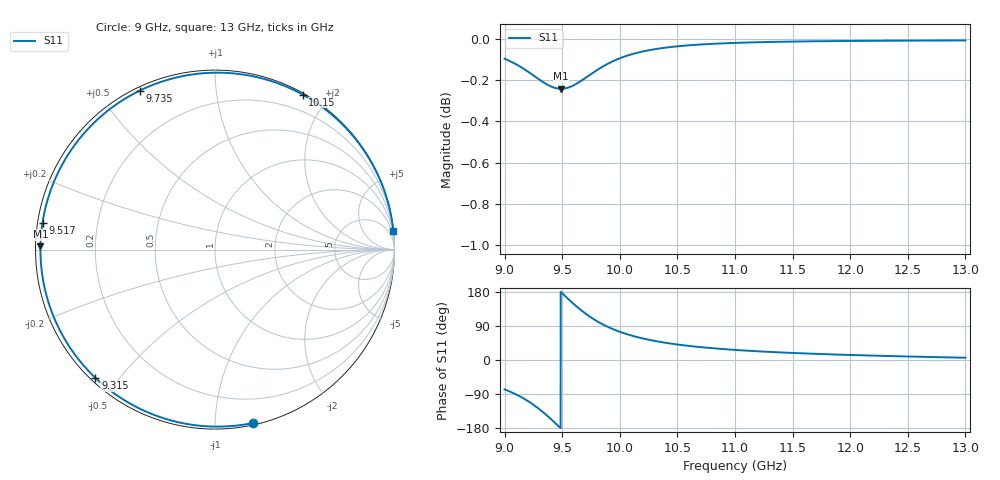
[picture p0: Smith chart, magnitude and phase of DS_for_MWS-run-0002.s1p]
! TOUCHSTONE file generated by CST DESIGN STUDIO
! Date and time: Tue Feb  4 12:20:45 2025
! Project name: C:\Work\MatlabApps\UnitCellOptimizationMatlab\CST\unitcell.cst
! Tree item: Tasks\Sweep1\SPara1\S-Parameters
! Header version: 2024
! Port assignment regex: !\s*Touchstone port\s*([0-9]+)\s*=\s*(CST MWS port|CST DES external port|CST DES block port)\s*(.+)\s* \(\"(.*)\"\)(\s*mode\s*([0-9]+))?.*
! Touchstone port assignment:
! Touchstone port 1 = CST DES external port 1 ("")
# GHz S MA R 50
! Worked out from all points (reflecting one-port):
!   4001 points, 9 GHz to 13 GHz, reference 50 ohm
!   lowest |S11| = -0.2 dB at 9.49 GHz (marker M1), VSWR 72.03, Z = 0.694 + j0.462 ohm
!   phase of S11 starts at -78 deg and turns -276 deg over the sweep
!   S11 on the Smith chart (normalised r, x): 9 GHz: 0.01, -1.24; 9.315 GHz: 0.01, -0.43; 9.517 GHz: 0.01, +0.08; 9.735 GHz: 0.01, +0.63; 10.15 GHz: 0.02, +1.72; 13 GHz: 0, +19
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9  0.9891 -77.6
9.08  0.9867 -88.0
9.18  0.9829 -104.2
9.25  0.9799 -118.1
9.315  0.977 -133.0
9.361  0.9752 -144.7
9.41  0.9737 -158.1
9.451  0.9729 -169.8
9.49  0.9726 178.9
9.5  0.9726 176.0
9.517  0.9727 171.1
9.57  0.9737 156.0
9.63  0.9756 139.9
9.682  0.9777 127.2
9.735  0.98 115.4
9.789  0.9823 104.8
9.848  0.9846 94.6
9.923  0.9872 83.7
10  0.9893 74.4
10.151  0.9924 60.5
10.309  0.9944 50.0
10.5  0.996 40.9
10.722  0.9971 33.4
11  0.9979 26.6
11.5  0.9986 18.6
12  0.999 13.2
12.5  0.9992 9.2
13  0.9993 6.0
